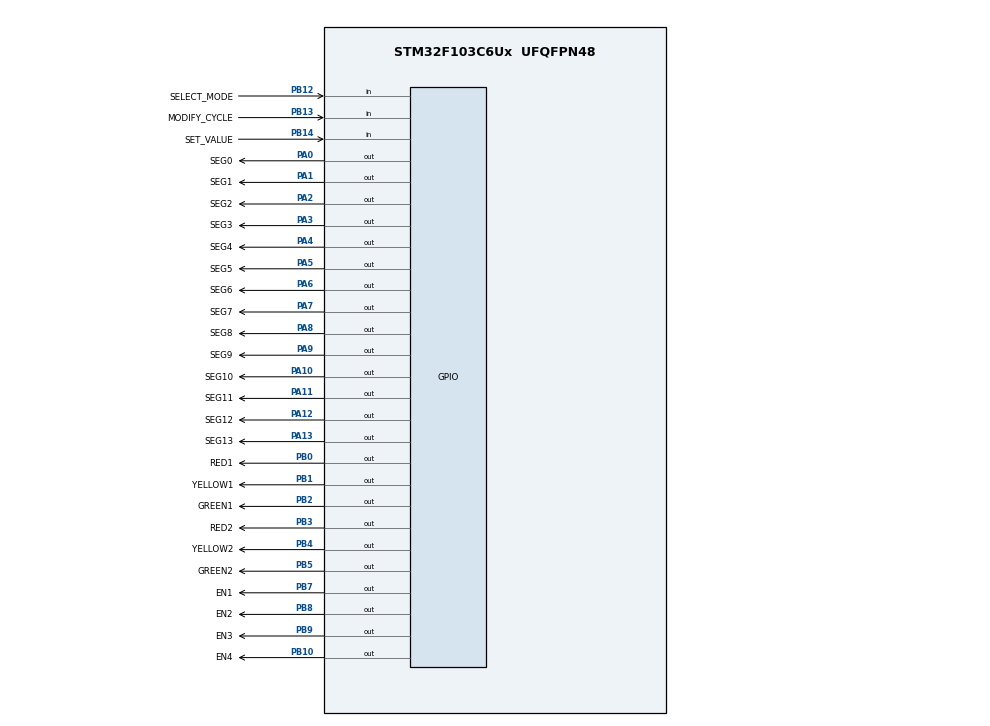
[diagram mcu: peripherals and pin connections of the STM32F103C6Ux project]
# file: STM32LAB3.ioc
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Mcu.Family=STM32F1
Mcu.Name=STM32F103C6Ux
Mcu.Package=UFQFPN48
NVIC.PriorityGroup=NVIC_PRIORITYGROUP_4
NVIC.TIM2_IRQn=true\:0\:0\:false\:false\:true\:true\:true
PA0-WKUP.GPIO_Label=SEG0
PA0-WKUP.Signal=GPIO_Output
PA1.GPIO_Label=SEG1
PA1.Signal=GPIO_Output
PA10.GPIO_Label=SEG10
PA10.Signal=GPIO_Output
PA11.GPIO_Label=SEG11
PA11.Signal=GPIO_Output
PA12.GPIO_Label=SEG12
PA12.Signal=GPIO_Output
PA13.GPIO_Label=SEG13
PA13.Signal=GPIO_Output
PA2.GPIO_Label=SEG2
PA2.Signal=GPIO_Output
PA3.GPIO_Label=SEG3
PA3.Signal=GPIO_Output
PA4.GPIO_Label=SEG4
PA4.Signal=GPIO_Output
PA5.GPIO_Label=SEG5
PA5.Signal=GPIO_Output
PA6.GPIO_Label=SEG6
PA6.Signal=GPIO_Output
PA7.GPIO_Label=SEG7
PA7.Signal=GPIO_Output
PA8.GPIO_Label=SEG8
PA8.Signal=GPIO_Output
PA9.GPIO_Label=SEG9
PA9.Signal=GPIO_Output
PB0.GPIO_Label=RED1
PB0.Signal=GPIO_Output
PB1.GPIO_Label=YELLOW1
PB1.Signal=GPIO_Output
PB10.GPIO_Label=EN4
PB10.Signal=GPIO_Output
PB12.GPIO_Label=SELECT_MODE
PB12.GPIO_PuPd=GPIO_PULLUP
PB12.Signal=GPIO_Input
PB13.GPIO_Label=MODIFY_CYCLE
PB13.GPIO_PuPd=GPIO_PULLUP
PB13.Signal=GPIO_Input
PB14.GPIO_Label=SET_VALUE
PB14.GPIO_PuPd=GPIO_PULLUP
PB14.Signal=GPIO_Input
PB2.GPIO_Label=GREEN1
PB2.Signal=GPIO_Output
PB3.GPIO_Label=RED2
PB3.Signal=GPIO_Output
PB4.GPIO_Label=YELLOW2
PB4.Signal=GPIO_Output
PB5.GPIO_Label=GREEN2
PB5.Signal=GPIO_Output
PB7.GPIO_Label=EN1
PB7.Signal=GPIO_Output
PB8.GPIO_Label=EN2
PB8.Signal=GPIO_Output
PB9.GPIO_Label=EN3
PB9.Signal=GPIO_Output
ProjectManager.HeapSize=0x200
ProjectManager.StackSize=0x400
ProjectManager.TargetToolchain=STM32CubeIDE
RCC.APB1Freq_Value=8000000
RCC.APB2Freq_Value=8000000
TIM2.Period=9
TIM2.Prescaler=7999
VP_SYS_VS_ND.Mode=No_Debug
VP_TIM2_VS_ClockSourceINT.Mode=Internal
board=custom

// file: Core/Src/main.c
/* USER CODE BEGIN Header */
/**
  ******************************************************************************
  * @file           : main.c
  * @brief          : Main program body
  ******************************************************************************
  * @attention
  *
  * <h2><center>&copy; Copyright (c) 2024 STMicroelectronics.
  * All rights reserved.</center></h2>
  *
  * This software component is licensed by ST under BSD 3-Clause license,
  * the "License"; You may not use this file except in compliance with the
  * License. You may obtain a copy of the License at:
  *                        opensource.org/licenses/BSD-3-Clause
  *
  ******************************************************************************
  */
/* USER CODE END Header */
#include "main.h"

/* USER CODE BEGIN Includes */
#include "timer.h"
#include "input_reading.h"
#include "input_processing.h"
#include "output_display.h"
/* USER CODE END Includes */

TIM_HandleTypeDef htim2;

void SystemClock_Config(void);
static void MX_GPIO_Init(void);
static void MX_TIM2_Init(void);

/* USER CODE BEGIN 0 */
void system_init(void)
{
	init_button();
	reset_all_led();
}
/* USER CODE END 0 */

int main(void)
{

  /* MCU Configuration--------------------------------------------------------*/

  /* Reset of all peripherals, Initializes the Flash interface and the Systick. */
  HAL_Init();

  /* Configure the system clock */
  SystemClock_Config();

  /* Initialize all configured peripherals */
  MX_GPIO_Init();
  MX_TIM2_Init();
  /* USER CODE BEGIN 2 */
  HAL_TIM_Base_Start_IT(&htim2);
  /* USER CODE END 2 */

  /* Infinite loop */
  /* USER CODE BEGIN WHILE */
  enum SystemsState {NORMAL_MODE, MODIFY_RED, UPDATE_RED_COUNTER, AUTO_UPDATE_RED_COUNTER
	  , MODIFY_YELLOW, UPDATE_YELLOW_COUNTER, AUTO_UPDATE_YELLOW_COUNTER
	  , MODIFY_GREEN, UPDATE_GREEN_COUNTER, AUTO_UPDATE_GREEN_COUNTER, SET_VALUE};

  enum SystemsState systemsState = NORMAL_MODE;
  int counter_temp = red_counter;
  enum TraficLight traficLight = RED;

  system_init();
  while (1)
  {
	  fsm_for_input_processing(0); // Button SELECT_MODE
	  fsm_for_input_processing(1); // Button MODIFY_MODE
	  fsm_for_input_processing(2); // Button SELECT_VALUE
	  switch(systemsState)
	  {
	  case NORMAL_MODE:
		  display_trafic_light();
		  if (buttonState[0] == BUTTON_PRESSED && pressed_flag[0] == 0)
		  {
			  systemsState = MODIFY_RED;
			  traficLight = RED;
			  counter_temp = red_counter;
			  pressed_flag[0] = 1;
			  reset_blink();
		  }
		  break;
	  case MODIFY_RED:
		  blink_led(traficLight);
		  display_mode(1);
		  display_counter(counter_temp);
		  if (buttonState[0] == BUTTON_PRESSED && pressed_flag[0] == 0)
		  {
			  systemsState = MODIFY_YELLOW;
			  traficLight = YELLOW;
			  counter_temp = yellow_counter;
			  pressed_flag[0] = 1;
			  reset_blink();
		  }
		  if (buttonState[1] == BUTTON_PRESSED && pressed_flag[1] == 0)
		  {
			  systemsState = UPDATE_RED_COUNTER;
			  pressed_flag[1] = 1;
			  counter_temp++;
			  if (counter_temp >= 100)
			  {
				  counter_temp = 0;
			  }
		  }
		  if (buttonState[2] == BUTTON_PRESSED)
		  {
			  systemsState = SET_VALUE;
		  }
		  break;
	  case UPDATE_RED_COUNTER:
//		  blink_led(traficLight);
		  if (buttonState[1] == BUTTON_RELEASED)
		  {
			  systemsState = MODIFY_RED;
		  }
		  if (buttonState[1] == BUTTON_PRESS_FOR_1S)
		  {
			  systemsState = AUTO_UPDATE_RED_COUNTER;
			  set_timer(4, DURATION_FOR_INCREASING * TIMER_CYCLE); // Auto increasing counter
		  }
		  break;
	  case AUTO_UPDATE_RED_COUNTER:
		  blink_led(traficLight);
		  display_mode(1);
		  if (buttonState[1] == BUTTON_RELEASED)
		  {
			  systemsState = MODIFY_RED;
		  }
		  if (timer_flag[4] == 1)
		  {
			  counter_temp++;
			  set_timer(4, DURATION_FOR_INCREASING * TIMER_CYCLE);
		  }
		  display_counter(counter_temp);
		  break;
	  case MODIFY_YELLOW:
		  blink_led(traficLight);
		  display_mode(2);
		  display_counter(counter_temp);
		  if (buttonState[0] == BUTTON_PRESSED && pressed_flag[0] == 0)
		  {
			  systemsState = MODIFY_GREEN;
			  traficLight = GREEN;
			  counter_temp = green_counter;
			  pressed_flag[0] = 1;
			  reset_blink();
		  }
		  if (buttonState[1] == BUTTON_PRESSED && pressed_flag[1] == 0)
		  {
			  systemsState = UPDATE_YELLOW_COUNTER;
			  pressed_flag[1] = 1;
			  counter_temp++;
			  if (counter_temp >= 100)
			  {
				  counter_temp = 0;
			  }
		  }
		  if (buttonState[2] == BUTTON_PRESSED)
		  {
			  systemsState = SET_VALUE;
		  }
		  break;
	  case UPDATE_YELLOW_COUNTER:
		  if (buttonState[1] == BUTTON_RELEASED)
		  {
			  systemsState = MODIFY_YELLOW;
		  }
		  if (buttonState[1] == BUTTON_PRESS_FOR_1S)
		  {
			  systemsState = AUTO_UPDATE_YELLOW_COUNTER;
			  set_timer(4, DURATION_FOR_INCREASING * TIMER_CYCLE); // Auto increasing counter
		  }
		  break;
	  case AUTO_UPDATE_YELLOW_COUNTER:
		  blink_led(traficLight);
		  display_mode(2);
		  if (buttonState[1] == BUTTON_RELEASED)
		  {
			  systemsState = MODIFY_YELLOW;
		  }
		  if (timer_flag[4] == 1)
		  {
			  counter_temp++;
			  set_timer(4, DURATION_FOR_INCREASING * TIMER_CYCLE);
		  }
		  display_counter(counter_temp);
		  break;
	  case MODIFY_GREEN:
		  blink_led(traficLight);
		  display_mode(3);
		  display_counter(counter_temp);
		  if (buttonState[0] == BUTTON_PRESSED && pressed_flag[0] == 0)
		  {
			  systemsState = NORMAL_MODE;
			  pressed_flag[0] = 1;
			  reset_all_led();
		  }
		  if (buttonState[1] == BUTTON_PRESSED && pressed_flag[1] == 0)
		  {
			  systemsState = UPDATE_GREEN_COUNTER;
			  pressed_flag[1] = 1;
			  counter_temp++;
			  if (counter_temp >= 100)
			  {
				  counter_temp = 0;
			  }
		  }
		  if (buttonState[2] == BUTTON_PRESSED)
		  {
			  systemsState = SET_VALUE;
		  }
		  break;
	  case UPDATE_GREEN_COUNTER:
		  if (buttonState[1] == BUTTON_RELEASED)
		  {
			  systemsState = MODIFY_GREEN;
		  }
		  if (buttonState[1] == BUTTON_PRESS_FOR_1S)
		  {
			  systemsState = AUTO_UPDATE_GREEN_COUNTER;
			  set_timer(4, DURATION_FOR_INCREASING * TIMER_CYCLE); // Auto increasing counter
		  }
		  break;
	  case AUTO_UPDATE_GREEN_COUNTER:
		  blink_led(traficLight);
		  display_mode(3);
		  if (buttonState[1] == BUTTON_RELEASED)
		  {
			  systemsState = MODIFY_GREEN;
		  }
		  if (timer_flag[4] == 1)
		  {
			  counter_temp++;
			  set_timer(4, DURATION_FOR_INCREASING * TIMER_CYCLE);
		  }
		  display_counter(counter_temp);
		  break;
	  case SET_VALUE:
		  switch(traficLight)
		  {
		  case RED:
			  red_counter = counter_temp;
			  break;
		  case YELLOW:
			  yellow_counter = counter_temp;
			  break;
		  case GREEN:
			  green_counter = counter_temp;
			  break;
		  }
		  if (buttonState[2] == BUTTON_RELEASED)
		  {
			  systemsState = NORMAL_MODE;
			  reset_all_led();
		  }
		  break;
	  default:
		  break;
	  }
    /* USER CODE END WHILE */

  }
}

void SystemClock_Config(void)
{
  RCC_OscInitTypeDef RCC_OscInitStruct = {0};
  RCC_ClkInitTypeDef RCC_ClkInitStruct = {0};

  /** Initializes the RCC Oscillators according to the specified parameters
  * in the RCC_OscInitTypeDef structure.
  */
  RCC_OscInitStruct.OscillatorType = RCC_OSCILLATORTYPE_HSI;
  RCC_OscInitStruct.HSIState = RCC_HSI_ON;
  RCC_OscInitStruct.HSICalibrationValue = RCC_HSICALIBRATION_DEFAULT;
  RCC_OscInitStruct.PLL.PLLState = RCC_PLL_NONE;
  if (HAL_RCC_OscConfig(&RCC_OscInitStruct) != HAL_OK)
  {
    Error_Handler();
  }
  /** Initializes the CPU, AHB and APB buses clocks
  */
  RCC_ClkInitStruct.ClockType = RCC_CLOCKTYPE_HCLK|RCC_CLOCKTYPE_SYSCLK
                              |RCC_CLOCKTYPE_PCLK1|RCC_CLOCKTYPE_PCLK2;
  RCC_ClkInitStruct.SYSCLKSource = RCC_SYSCLKSOURCE_HSI;
  RCC_ClkInitStruct.AHBCLKDivider = RCC_SYSCLK_DIV1;
  RCC_ClkInitStruct.APB1CLKDivider = RCC_HCLK_DIV1;
  RCC_ClkInitStruct.APB2CLKDivider = RCC_HCLK_DIV1;

  if (HAL_RCC_ClockConfig(&RCC_ClkInitStruct, FLASH_LATENCY_0) != HAL_OK)
  {
    Error_Handler();
  }
}

static void MX_TIM2_Init(void)
{

  TIM_ClockConfigTypeDef sClockSourceConfig = {0};
  TIM_MasterConfigTypeDef sMasterConfig = {0};

  htim2.Instance = TIM2;
  htim2.Init.Prescaler = 7999;
  htim2.Init.CounterMode = TIM_COUNTERMODE_UP;
  htim2.Init.Period = 9;
  htim2.Init.ClockDivision = TIM_CLOCKDIVISION_DIV1;
  htim2.Init.AutoReloadPreload = TIM_AUTORELOAD_PRELOAD_DISABLE;
  if (HAL_TIM_Base_Init(&htim2) != HAL_OK)
  {
    Error_Handler();
  }
  sClockSourceConfig.ClockSource = TIM_CLOCKSOURCE_INTERNAL;
  if (HAL_TIM_ConfigClockSource(&htim2, &sClockSourceConfig) != HAL_OK)
  {
    Error_Handler();
  }
  sMasterConfig.MasterOutputTrigger = TIM_TRGO_RESET;
  sMasterConfig.MasterSlaveMode = TIM_MASTERSLAVEMODE_DISABLE;
  if (HAL_TIMEx_MasterConfigSynchronization(&htim2, &sMasterConfig) != HAL_OK)
  {
    Error_Handler();
  }

}

static void MX_GPIO_Init(void)
{
  GPIO_InitTypeDef GPIO_InitStruct = {0};

  /* GPIO Ports Clock Enable */
  __HAL_RCC_GPIOA_CLK_ENABLE();
  __HAL_RCC_GPIOB_CLK_ENABLE();

  /*Configure GPIO pin Output Level */
  HAL_GPIO_WritePin(GPIOA, SEG0_Pin|SEG1_Pin|SEG2_Pin|SEG3_Pin
                          |SEG4_Pin|SEG5_Pin|SEG6_Pin|SEG7_Pin
                          |SEG8_Pin|SEG9_Pin|SEG10_Pin|SEG11_Pin
                          |SEG12_Pin|SEG13_Pin, GPIO_PIN_RESET);

  /*Configure GPIO pin Output Level */
  HAL_GPIO_WritePin(GPIOB, RED1_Pin|YELLOW1_Pin|GREEN1_Pin|EN4_Pin
                          |RED2_Pin|YELLOW2_Pin|GREEN2_Pin|EN1_Pin
                          |EN2_Pin|EN3_Pin, GPIO_PIN_RESET);

  /*Configure GPIO pins : SEG0_Pin SEG1_Pin SEG2_Pin SEG3_Pin
                           SEG4_Pin SEG5_Pin SEG6_Pin SEG7_Pin
                           SEG8_Pin SEG9_Pin SEG10_Pin SEG11_Pin
                           SEG12_Pin SEG13_Pin */
  GPIO_InitStruct.Pin = SEG0_Pin|SEG1_Pin|SEG2_Pin|SEG3_Pin
                          |SEG4_Pin|SEG5_Pin|SEG6_Pin|SEG7_Pin
                          |SEG8_Pin|SEG9_Pin|SEG10_Pin|SEG11_Pin
                          |SEG12_Pin|SEG13_Pin;
  GPIO_InitStruct.Mode = GPIO_MODE_OUTPUT_PP;
  GPIO_InitStruct.Pull = GPIO_NOPULL;
  GPIO_InitStruct.Speed = GPIO_SPEED_FREQ_LOW;
  HAL_GPIO_Init(GPIOA, &GPIO_InitStruct);

  /*Configure GPIO pins : RED1_Pin YELLOW1_Pin GREEN1_Pin EN4_Pin
                           RED2_Pin YELLOW2_Pin GREEN2_Pin EN1_Pin
                           EN2_Pin EN3_Pin */
  GPIO_InitStruct.Pin = RED1_Pin|YELLOW1_Pin|GREEN1_Pin|EN4_Pin
                          |RED2_Pin|YELLOW2_Pin|GREEN2_Pin|EN1_Pin
                          |EN2_Pin|EN3_Pin;
  GPIO_InitStruct.Mode = GPIO_MODE_OUTPUT_PP;
  GPIO_InitStruct.Pull = GPIO_NOPULL;
  GPIO_InitStruct.Speed = GPIO_SPEED_FREQ_LOW;
  HAL_GPIO_Init(GPIOB, &GPIO_InitStruct);

  /*Configure GPIO pins : SELECT_MODE_Pin MODIFY_CYCLE_Pin SET_VALUE_Pin */
  GPIO_InitStruct.Pin = SELECT_MODE_Pin|MODIFY_CYCLE_Pin|SET_VALUE_Pin;
  GPIO_InitStruct.Mode = GPIO_MODE_INPUT;
  GPIO_InitStruct.Pull = GPIO_PULLUP;
  HAL_GPIO_Init(GPIOB, &GPIO_InitStruct);

}

void Error_Handler(void)
{
  __disable_irq();
  while (1)
  {
  }
}

/************************ (C) COPYRIGHT STMicroelectronics *****END OF FILE****/
